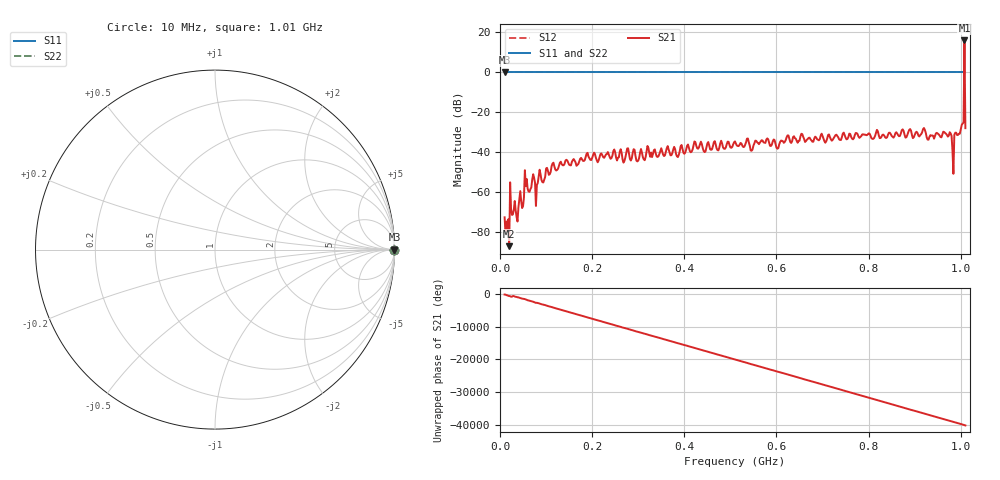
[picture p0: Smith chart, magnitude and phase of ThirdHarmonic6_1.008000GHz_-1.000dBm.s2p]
! 8/16/2025 8:15:35 AM
! C:\ANRITSUVNA\TEMP\TEMP.S2P
! CHANNEL.1
! TR.MEASUREMENT
! RAW.DATA
! RF.CORRECTION.OFF
! AVERAGING.OFF
! IF.BANDWIDTH: 5KHZ
! SWEEPTYPE:  FREQ.SWEEP(Linear)
! Reference Plane Port Info
! PORT:  PORT1  PORT2
! DISTANCE:  0  m  0  m
! TIME:  0  s  0  s
! PHASE.OFFSET:  0  deg.  0  deg.
! LOSS:  0  dB  0  dB
! REF.LOSS:  0  dB  0  dB
! REF.FREQ:  0  Hz  0  Hz
! Power Info
! POWER:  -20  dBm  -20  dBm
! EFF.POWER:  -20  dBm  -20  dBm
! SOURCE.ATTEN:  0  dB  0  dB
! TEST.ATTEN:  0  dB  0  dB
# GHZ S RI R 50.0
! FREQ.GHZ  S11RE  S11IM  S21RE  S21IM  S12RE  S12IM  S22RE  S22IM
!; PortSelection: Port_12
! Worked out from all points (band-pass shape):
!   501 points, 10 MHz to 1.01 GHz, reference 50 ohm
!   highest |S21| = 15.84 dB at 1.008 GHz (marker M1); lowest = -87.0 dB at 20 MHz (marker M2)
!   |S21| within 3 dB of the highest: 1.007854 GHz to 1.008137 GHz (283.1 kHz wide, 0.0281 % of centre)
!   lowest |S11| = 0.0 dB at 10 MHz (marker M3)
!   |S11| at or under -10 dB: nowhere
!   |S22| runs from 0.0 to 0.0 dB; largest |S21 - S12| = 6.9
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0.01  1 0  -0.000203 -0.000121  1 0  1 0
0.016  1 0  8.3e-05 -6.1e-05  1 0  1 0
0.02  1 0  -1.56e-05 4.2e-05  1 0  1 0
0.026  1 0  9.57e-05 -0.000253  1 0  1 0
0.038  1 0  -2.6e-06 0.000185  1 0  1 0
0.058  1 0  0.00209 0.000495  1 0  1 0
0.08  1 0  -0.00135 -0.000661  1 0  1 0
0.084  1 0  0.00127 0.00215  1 0  1 0
0.094  1 0  0.00171 -0.000385  1 0  1 0
0.114  1 0  -0.000877 -0.00512  1 0  1 0
0.178  1 0  -0.00644 0.00172  1 0  1 0
0.344  1 0  0.00692 -0.00388  1 0  1 0
0.51  1 0  -0.00891 0.0163  1 0  1 0
0.678  1 0  -0.018 -0.0029  1 0  1 0
0.844  1 0  0.0275 -0.0132  1 0  1 0
0.966  1 0  0.0055 0.0296  1 0  1 0
0.976  1 0  0.0229 0.0217  1 0  1 0
0.982  1 0  -0.00909 0.00585  1 0  1 0
1.002  1 0  0.00602 0.0475  1 0  1 0
1.004  1 0  0.0511 -0.0106  1 0  1 0
1.008  1 0  -3.982 4.745  1 0  1 0
1.01  1 0  0.0104 0.0384  1 0  1 0
